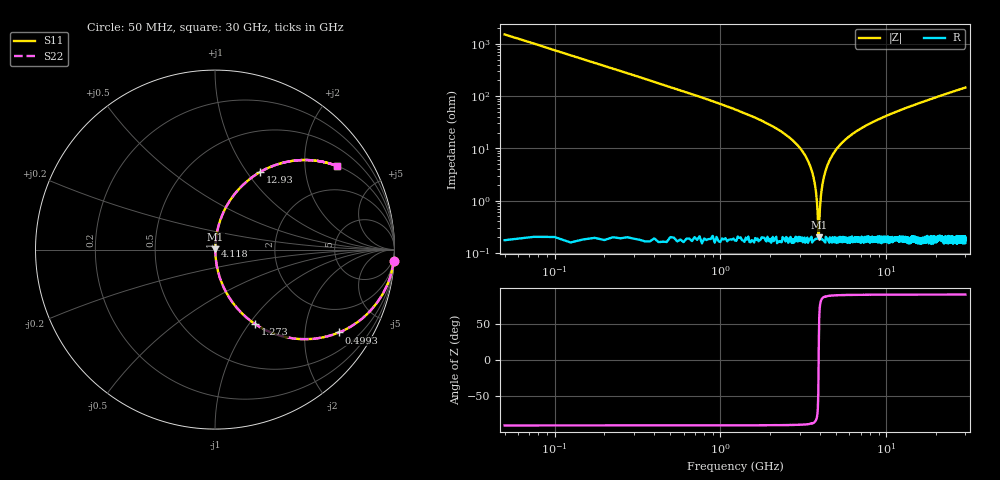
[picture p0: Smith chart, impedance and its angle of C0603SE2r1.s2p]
!	AVX Thin Film Operation 	Date: April 2014
!	Description: Accu-P® Series, Thin Film  SMD RF Capacitor
!	Part Number: 06031J2R1QBSTR
# MHZ S MA R 50
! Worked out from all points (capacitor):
!   1201 points, 50 MHz to 30 GHz, reference 50 ohm
!   read as one part in series: C = 2.1 pF near 199.8 MHz
!   lowest |Z| = 200 mohm at 3.919 GHz (marker M1)
!   series resonance near 3.912 GHz, so ESL is about 790 pH
!   S11 on the Smith chart (normalised r, x): 50 MHz: 1, -30; 499.2 MHz: 1.01, -2.99; 1.273 GHz: 1.00, -1.06; 4.118 GHz: 1.00, +0.04; 12.93 GHz: 1.00, +1.16; 30 GHz: 1.00, +2.92
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50  0.998 -3.8  0.066 86.2  0.066 86.2  0.998 -3.8
274.625  0.939 -20.0  0.342 70.0  0.342 70.0  0.939 -20.0
499.25  0.83 -33.8  0.556 56.1  0.556 56.1  0.83 -33.8
1272.958  0.469 -61.8  0.881 28.0  0.881 28.0  0.469 -61.8
2520.875  0.173 -79.5  0.983 10.0  0.983 10.0  0.173 -79.5
3194.75  0.079 -84.2  0.995 4.5  0.995 4.5  0.079 -84.2
3569.125  0.036 -85.1  0.998 2.0  0.998 2.0  0.036 -85.1
3693.917  0.022 -84.1  0.998 1.3  0.998 1.3  0.022 -84.1
3818.708  0.009549 -78.6  0.998 0.5  0.998 0.5  0.009549 -78.6
3918.542  0.001896 18.5  0.998 -0.0  0.998 -0.0  0.001896 18.5
4018.375  0.01 79.5  0.998 -0.6  0.998 -0.6  0.01 79.5
4118.208  0.02 83.7  0.998 -1.1  0.998 -1.1  0.02 83.7
4243  0.031 84.9  0.998 -1.8  0.998 -1.8  0.031 84.9
4417.708  0.047 85.1  0.997 -2.7  0.997 -2.7  0.047 85.1
5041.667  0.099 83.3  0.993 -5.7  0.993 -5.7  0.099 83.3
6838.667  0.222 76.7  0.973 -12.8  0.973 -12.8  0.222 76.7
10058.29  0.389 66.9  0.92 -22.9  0.92 -22.9  0.389 66.9
12928.5  0.502 59.7  0.863 -30.1  0.863 -30.1  0.502 59.7
15025  0.569 55.2  0.821 -34.7  0.821 -34.7  0.569 55.2
20016.67  0.689 46.3  0.723 -43.6  0.723 -43.6  0.689 46.3
25033.29  0.77 39.6  0.637 -50.4  0.637 -50.4  0.77 39.6
30000  0.825 34.4  0.565 -55.5  0.565 -55.5  0.825 34.4
